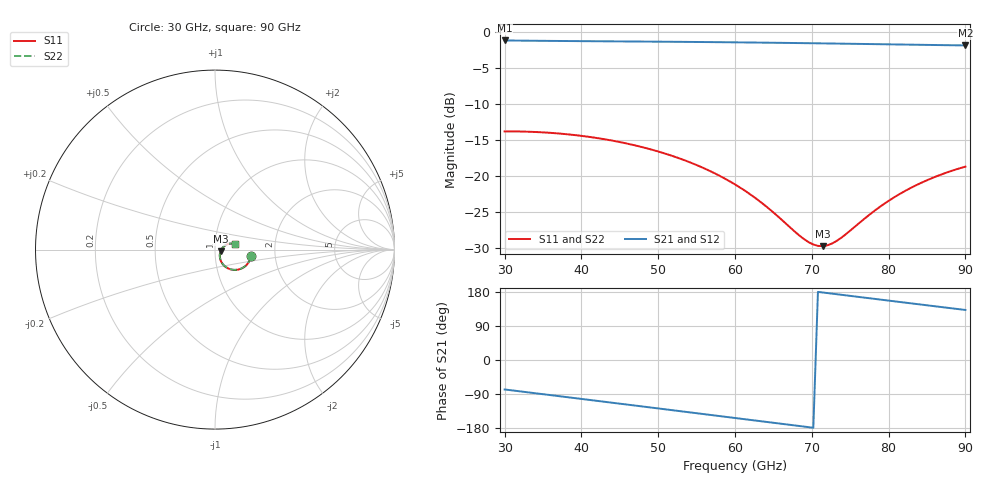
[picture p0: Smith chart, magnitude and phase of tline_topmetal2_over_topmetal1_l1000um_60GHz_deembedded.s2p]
! Created with skrf 2.2.0 (http://scikit-rf.org).
# GHz S DB R 50.0
! Port[1] = P1
! Port[2] = P2
!freq dBS11 angS11 dBS21 angS21 dBS12 angS12 dBS22 angS22
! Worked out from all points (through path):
!   101 points, 30 GHz to 90 GHz, reference 50 ohm
!   highest |S21| = -1.20 dB at 30 GHz (marker M1); lowest = -1.9 dB at 90 GHz (marker M2)
!   group delay of S21, straight-line fit = 6.97 ps
!   lowest |S11| = -29.8 dB at 71.4 GHz (marker M3), VSWR 1.07, Z = 53.2 - j1.05 ohm
!   |S11| at or under -10 dB: start of sweep to end of sweep
!   |S22| runs from -29.7 to -13.8 dB; largest |S21 - S12| = 1.5e-13
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30  -13.84 -10.8  -1.20 -77.7  -1.20 -77.7  -13.85 -10.7
34.8  -13.96 -20.4  -1.25 -89.7  -1.25 -89.7  -13.97 -20.3
37.2  -14.14 -25.1  -1.27 -95.7  -1.27 -95.7  -14.15 -25.1
40.2  -14.48 -31.1  -1.29 -103.2  -1.29 -103.2  -14.49 -31.0
45  -15.32 -40.3  -1.33 -115.2  -1.33 -115.2  -15.33 -40.3
50.4  -16.76 -50.1  -1.37 -128.8  -1.37 -128.8  -16.77 -50.0
55.2  -18.60 -57.5  -1.41 -140.9  -1.41 -140.9  -18.61 -57.4
57.6  -19.79 -60.4  -1.43 -147.0  -1.43 -147.0  -19.80 -60.3
60  -21.21 -62.3  -1.46 -153.0  -1.46 -153.0  -21.22 -62.1
63  -23.38 -62.3  -1.49 -160.6  -1.49 -160.6  -23.38 -62.0
65.4  -25.47 -58.7  -1.52 -166.7  -1.52 -166.7  -25.47 -58.4
68.4  -28.32 -45.2  -1.56 -174.2  -1.56 -174.2  -28.31 -44.8
70.2  -29.56 -29.9  -1.59 -178.8  -1.59 -178.8  -29.53 -29.6
71.4  -29.79 -17.7  -1.60 178.2  -1.60 178.2  -29.75 -17.4
72.6  -29.44 -5.8  -1.62 175.2  -1.62 175.2  -29.40 -5.6
73.8  -28.65 4.2  -1.64 172.2  -1.64 172.2  -28.61 4.3
78  -25.01 21.1  -1.70 161.7  -1.70 161.7  -24.99 21.1
80.4  -23.22 23.2  -1.74 155.8  -1.74 155.8  -23.21 23.2
82.2  -22.08 23.0  -1.77 151.3  -1.77 151.3  -22.08 23.0
84.6  -20.81 21.4  -1.81 145.4  -1.81 145.4  -20.81 21.4
87  -19.77 18.8  -1.84 139.4  -1.84 139.4  -19.77 18.9
90  -18.73 14.7  -1.89 132.1  -1.89 132.1  -18.74 14.8
